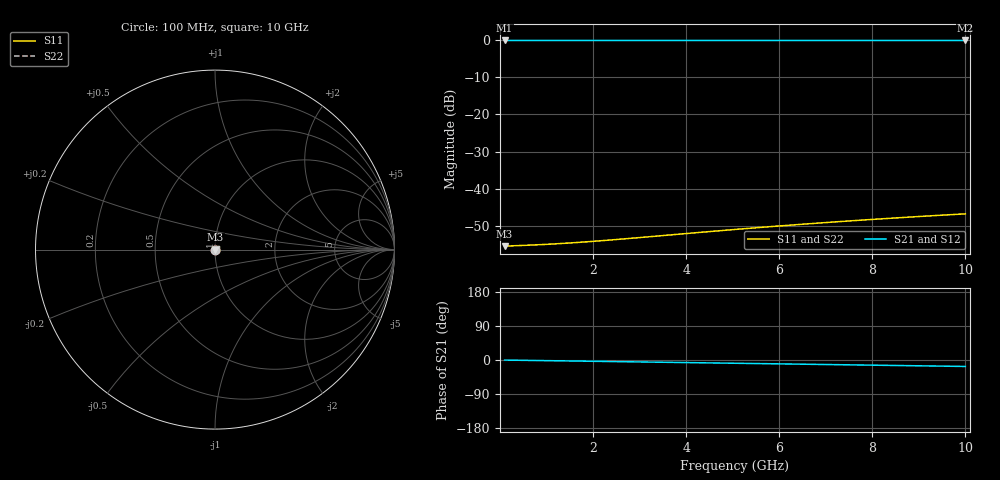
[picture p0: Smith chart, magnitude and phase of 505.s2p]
# Hz S RI R 50.00
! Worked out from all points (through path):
!   100 points, 100 MHz to 10 GHz, reference 50 ohm
!   highest |S21| = -0.01 dB at 100 MHz (marker M1); lowest = 0.0 dB at 10 GHz (marker M2)
!   group delay of S21, straight-line fit = 4.73 ps
!   lowest |S11| = -55.6 dB at 100 MHz (marker M3), VSWR 1.00, Z = 50.2 + j0.00398 ohm
!   |S11| at or under -10 dB: start of sweep to end of sweep
!   |S22| runs from -55.6 to -46.8 dB; largest |S21 - S12| = 0
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1e8  0.00167 3.97e-05  0.9983 -0.00296  0.9983 -0.00296  0.00167 3.97e-05
2e8  0.00168 7.92e-05  0.9983 -0.00592  0.9983 -0.00592  0.00168 7.92e-05
7e8  0.00171 0.000276  0.9981 -0.0207  0.9981 -0.0207  0.00171 0.000276
1e9  0.00172 0.000394  0.9978 -0.0296  0.9978 -0.0296  0.00172 0.000394
1.2e9  0.00173 0.000472  0.9976 -0.0355  0.9976 -0.0355  0.00173 0.000472
1.4e9  0.00174 0.00055  0.9974 -0.0414  0.9974 -0.0414  0.00174 0.00055
1.8e9  0.00176 0.000705  0.9968 -0.0532  0.9968 -0.0532  0.00176 0.000705
2.1e9  0.00178 0.000821  0.9963 -0.0621  0.9963 -0.0621  0.00178 0.000821
2.5e9  0.0018 0.000974  0.9955 -0.0739  0.9955 -0.0739  0.0018 0.000974
2.9e9  0.00183 0.00113  0.9945 -0.0857  0.9945 -0.0857  0.00183 0.00113
3.4e9  0.00188 0.00131  0.9931 -0.1005  0.9931 -0.1005  0.00188 0.00131
4.4e9  0.00197 0.00168  0.9896 -0.1299  0.9896 -0.1299  0.00197 0.00168
5.1e9  0.00205 0.00193  0.9867 -0.1505  0.9867 -0.1505  0.00205 0.00193
5.9e9  0.00216 0.00221  0.9828 -0.1739  0.9828 -0.1739  0.00216 0.00221
6.3e9  0.00222 0.00234  0.9807 -0.1856  0.9807 -0.1856  0.00222 0.00234
6.7e9  0.00228 0.00248  0.9784 -0.1973  0.9784 -0.1973  0.00228 0.00248
7.1e9  0.00234 0.00261  0.9759 -0.2089  0.9759 -0.2089  0.00234 0.00261
7.5e9  0.00241 0.00274  0.9734 -0.2205  0.9734 -0.2205  0.00241 0.00274
7.9e9  0.00248 0.00287  0.9706 -0.2321  0.9706 -0.2321  0.00248 0.00287
8.4e9  0.00257 0.00302  0.9671 -0.2465  0.9671 -0.2465  0.00257 0.00302
9.2e9  0.00273 0.00327  0.9609 -0.2695  0.9609 -0.2695  0.00273 0.00327
1e10  0.0029 0.00351  0.9541 -0.2924  0.9541 -0.2924  0.0029 0.00351
